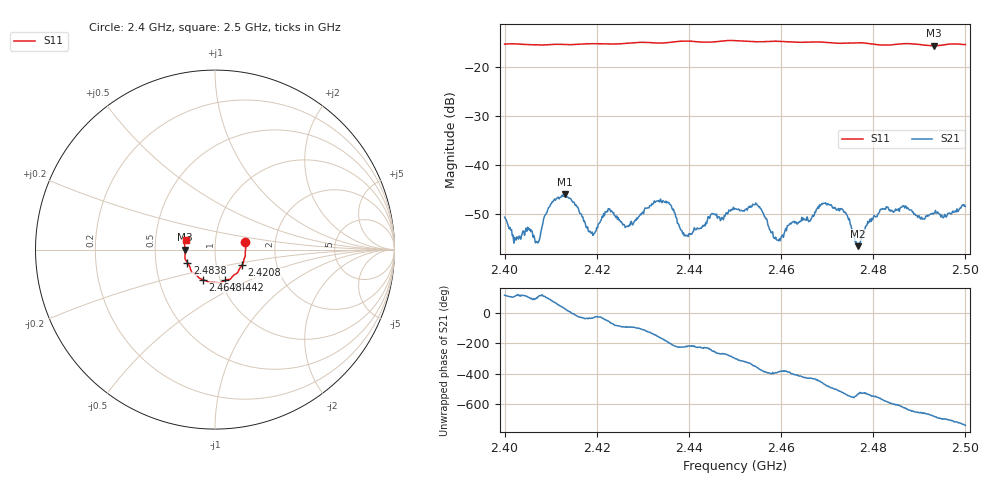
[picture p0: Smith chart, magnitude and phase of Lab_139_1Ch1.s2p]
# Hz S RI R 50
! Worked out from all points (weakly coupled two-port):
!   601 points, 2.4 GHz to 2.5 GHz, reference 50 ohm
!   highest |S21| = -45.95 dB at 2.413 GHz (marker M1); lowest = -56.5 dB at 2.4767 GHz (marker M2)
!   lowest |S11| = -15.6 dB at 2.4932 GHz (marker M3), VSWR 1.40, Z = 35.8 - j0.0754 ohm
!   |S11| at or under -10 dB: start of sweep to end of sweep
!   S12 and S22 are empty: the file has one direction only
!   S11 on the Smith chart (normalised r, x): 2.4 GHz: 1.40, +0.12; 2.4208 GHz: 1.33, -0.24; 2.4442 GHz: 1.05, -0.37; 2.4648 GHz: 0.83, -0.29; 2.4838 GHz: 0.73, -0.11; 2.5 GHz: 0.72, +0.08
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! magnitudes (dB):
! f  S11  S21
! 2.4 GHz  -15.3  -50.6
! 2.4072 GHz  -15.4  -55.9
! 2.4098 GHz  -15.3  -48.4
! 2.413 GHz  -15.3  -46.0
! 2.4167 GHz  -15.2  -50.0
! 2.419 GHz  -15.2  -53.6
! 2.4208 GHz  -15.2  -51.4
! 2.4267 GHz  -15.1  -52.4
! 2.4333 GHz  -15.0  -47.3
! 2.4393 GHz  -14.6  -54.4
! 2.4442 GHz  -14.9  -50.5
! 2.45 GHz  -14.5  -48.8
! 2.455 GHz  -14.8  -48.2
! 2.4593 GHz  -14.7  -55.3
! 2.4648 GHz  -14.9  -50.8
! 2.4667 GHz  -14.8  -50.7
! 2.4733 GHz  -15.1  -49.1
! 2.4767 GHz  -15.0  -56.5
! 2.4833 GHz  -15.5  -48.9
! 2.4838 GHz  -15.4  -49.4
! 2.4932 GHz  -15.6  -49.8
! 2.5 GHz  -15.4  -48.4
